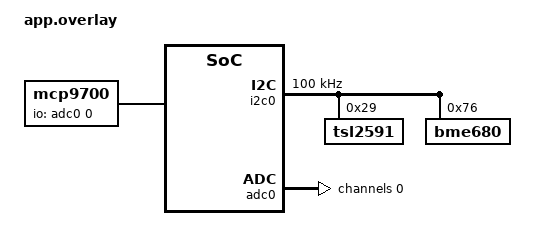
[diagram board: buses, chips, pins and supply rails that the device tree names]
&i2c0 {
    status = "okay";
    clock-frequency = <I2C_BITRATE_STANDARD>;

    tsl2591@29 {
        compatible = "tsl2591";
        reg = <0x29>;
        label = "TSL2591";
    };

    bme680@76 {
        compatible = "bme680";
        reg = <0x76>;
        label = "BME680";
    };
};

&adc0 {
    status = "okay";
    #address-cells = <1>;
    #size-cells = <0>;

    channel@0 {
        reg = <0>;
        zephyr,gain = "ADC_GAIN_1";
        zephyr,reference = "ADC_REF_INTERNAL";
        zephyr,acquisition-time = <ADC_ACQ_TIME_DEFAULT>;
        zephyr,input-positive = <0>;
        zephyr,resolution = <12>;
    };
};

/ {
    mcp9700 {
        compatible = "mcp9700";
        io-channels = <&adc0 0>;
        vref-mv = <3300>;
        label = "MCP9700";
    };
}; 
